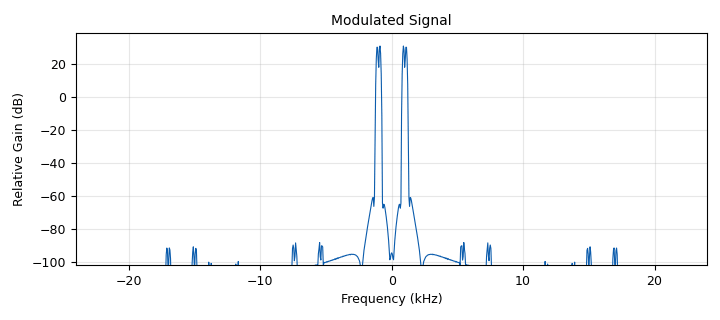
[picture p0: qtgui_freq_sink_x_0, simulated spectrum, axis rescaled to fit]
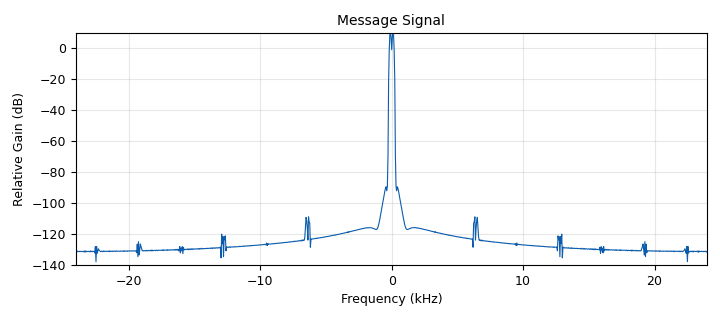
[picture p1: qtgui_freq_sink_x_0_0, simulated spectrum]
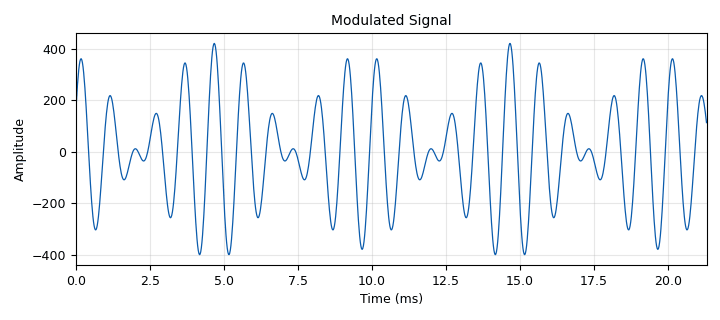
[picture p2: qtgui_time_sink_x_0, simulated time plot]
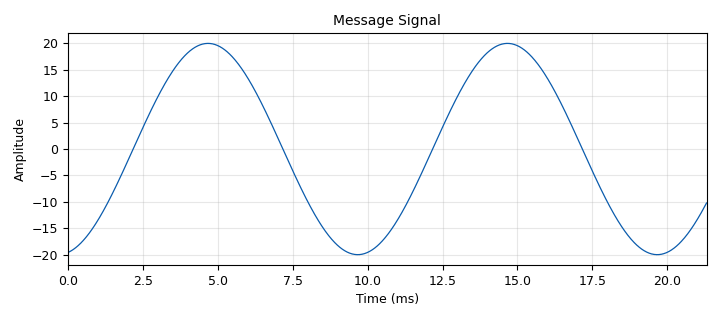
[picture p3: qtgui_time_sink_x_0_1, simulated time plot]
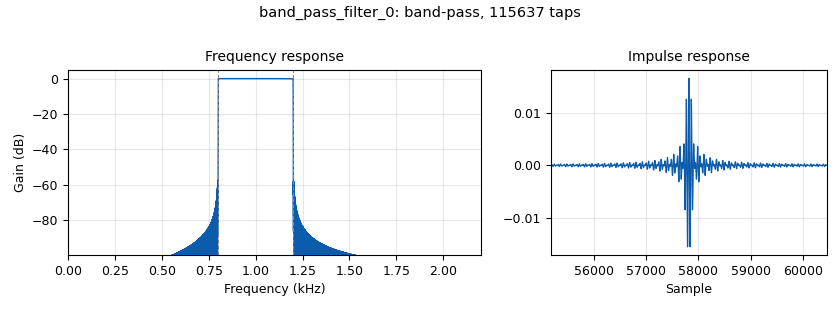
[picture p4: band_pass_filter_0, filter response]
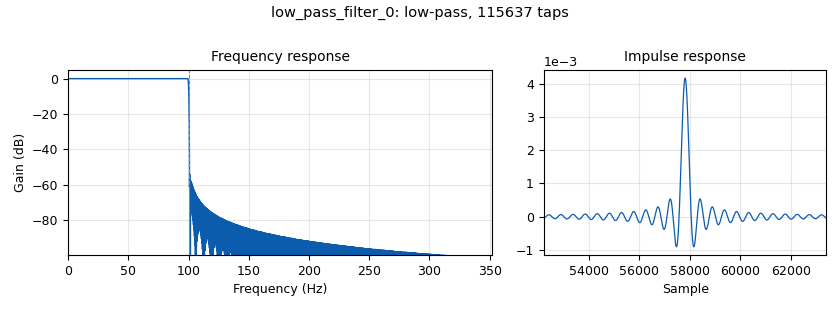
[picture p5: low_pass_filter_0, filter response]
options:
  parameters:
    author: shashank
    generate_options: qt_gui
    id: dsb_fc_USRP
    output_language: python
    title: dsb_fc_USRP
  states: {}

blocks:
- name: carrier_amp
  id: variable
  parameters:
    value: msg_amp/mu
  states: {}
- name: msg_amp
  id: variable
  parameters:
    value: '20.0'
  states: {}
- name: mu
  id: variable
  parameters:
    value: '1'
  states: {}
- name: samp_rate
  id: variable
  parameters:
    value: '48000'
  states: {}
- name: analog_const_source_x_0
  id: analog_const_source_x
  parameters:
    const: '1'
    type: float
  states: {}
- name: analog_const_source_x_1
  id: analog_const_source_x
  parameters:
    const: mu
    type: float
  states: {}
- name: band_pass_filter_0
  id: band_pass_filter
  parameters:
    decim: '1'
    gain: '1'
    high_cutoff_freq: '1200'
    low_cutoff_freq: '800'
    samp_rate: samp_rate
    type: fir_filter_ccf
    width: '1'
    win: firdes.WIN_HAMMING
  states: {}
- name: blocks_add_xx_0
  id: blocks_add_xx
  parameters:
    type: float
  states: {}
- name: blocks_complex_to_float_0
  id: blocks_complex_to_float
  parameters: {}
  states: {}
- name: blocks_float_to_complex_0
  id: blocks_float_to_complex
  parameters: {}
  states: {}
- name: blocks_multiply_xx_0
  id: blocks_multiply_xx
  parameters:
    type: float
  states: {}
- name: blocks_multiply_xx_1
  id: blocks_multiply_xx
  parameters:
    type: float
  states: {}
- name: blocks_multiply_xx_2
  id: blocks_multiply_xx
  parameters:
    type: float
  states: {}
- name: blocks_throttle_0
  id: blocks_throttle
  parameters:
    samples_per_second: samp_rate
    type: float
  states: {}
- name: carrierSignal
  id: analog_sig_source_x
  parameters:
    amp: carrier_amp
    freq: '1000'
    offset: '0'
    phase: '0'
    samp_rate: samp_rate
    type: float
    waveform: analog.GR_COS_WAVE
  states: {}
- name: carrierSignal_0
  id: analog_sig_source_x
  parameters:
    amp: '1'
    freq: '1000'
    offset: '0'
    phase: '0'
    samp_rate: samp_rate
    type: float
    waveform: analog.GR_COS_WAVE
  states: {}
- name: dc_blocker_xx_0
  id: dc_blocker_xx
  parameters:
    length: '32'
    long_form: 'True'
    type: ff
  states: {}
- name: low_pass_filter_0
  id: low_pass_filter
  parameters:
    cutoff_freq: '100'
    decim: '1'
    gain: '1'
    samp_rate: samp_rate
    type: fir_filter_fff
    width: '1'
    win: firdes.WIN_HAMMING
  states: {}
- name: messageSignal
  id: analog_sig_source_x
  parameters:
    amp: msg_amp
    freq: '100'
    offset: '0'
    phase: '0'
    samp_rate: samp_rate
    type: float
    waveform: analog.GR_COS_WAVE
  states: {}
- name: qtgui_freq_sink_x_0
  id: qtgui_freq_sink_x
  parameters:
    bw: samp_rate
    ctrlpanel: 'True'
    fc: '0'
    fftsize: '1024'
    name: '"Modulated Signal"'
    showports: 'True'
    type: float
    wintype: firdes.WIN_BLACKMAN_hARRIS
  states: {}
- name: qtgui_freq_sink_x_0_0
  id: qtgui_freq_sink_x
  parameters:
    bw: samp_rate
    ctrlpanel: 'True'
    fc: '0'
    fftsize: '1024'
    name: '"Message Signal"'
    showports: 'True'
    type: float
    wintype: firdes.WIN_BLACKMAN_hARRIS
  states: {}
- name: qtgui_freq_sink_x_0_1
  id: qtgui_freq_sink_x
  parameters:
    bw: samp_rate
    ctrlpanel: 'True'
    fc: '0'
    fftsize: '1024'
    name: '"Demodulated Signal"'
    showports: 'True'
    type: float
    wintype: firdes.WIN_BLACKMAN_hARRIS
  states: {}
- name: qtgui_freq_sink_x_0_1_0
  id: qtgui_freq_sink_x
  parameters:
    bw: samp_rate
    ctrlpanel: 'True'
    fc: '0'
    fftsize: '1024'
    name: '"LPF Input"'
    showports: 'True'
    type: float
    wintype: firdes.WIN_BLACKMAN_hARRIS
  states: {}
- name: qtgui_time_sink_x_0
  id: qtgui_time_sink_x
  parameters:
    autoscale: 'True'
    ctrlpanel: 'True'
    grid: 'True'
    label1: ''
    name: '"Modulated Signal"'
    size: '1024'
    srate: samp_rate
    type: float
  states: {}
- name: qtgui_time_sink_x_0_0
  id: qtgui_time_sink_x
  parameters:
    autoscale: 'True'
    ctrlpanel: 'True'
    grid: 'True'
    label1: ''
    name: '"Demodulated Signal"'
    size: '1024'
    srate: samp_rate
    type: float
  states: {}
- name: qtgui_time_sink_x_0_1
  id: qtgui_time_sink_x
  parameters:
    autoscale: 'True'
    ctrlpanel: 'True'
    grid: 'True'
    label1: ''
    name: '"Message Signal"'
    size: '1024'
    srate: samp_rate
    type: float
  states: {}
- name: uhd_usrp_sink_0
  id: uhd_usrp_sink
  parameters:
    ant0: '"TX/RX"'
    center_freq0: 1e9
    dev_addr: '"Serial=32428D5"'
    gain0: '70'
    norm_gain0: 'False'
    samp_rate: samp_rate
    sync: sync
    type: fc32
  states: {}
- name: uhd_usrp_source_1
  id: uhd_usrp_source
  parameters:
    ant0: RX2
    center_freq0: 1e9
    dc_offs_enb0: '0'
    dev_addr: '"Serial=32428D5"'
    dev_args: '""'
    gain0: '70'
    iq_imbal_enb0: '0'
    norm_gain0: 'False'
    samp_rate: samp_rate
    sync: sync
    type: fc32
  states: {}

connections:
- [analog_const_source_x_0, '0', blocks_add_xx_0, '0']
- [analog_const_source_x_1, '0', blocks_multiply_xx_0, '0']
- [band_pass_filter_0, '0', blocks_complex_to_float_0, '0']
- [blocks_add_xx_0, '0', blocks_multiply_xx_1, '0']
- [blocks_complex_to_float_0, '0', blocks_multiply_xx_2, '0']
- [blocks_float_to_complex_0, '0', uhd_usrp_sink_0, '0']
- [blocks_multiply_xx_0, '0', blocks_add_xx_0, '1']
- [blocks_multiply_xx_1, '0', blocks_throttle_0, '0']
- [blocks_multiply_xx_2, '0', low_pass_filter_0, '0']
- [blocks_multiply_xx_2, '0', qtgui_freq_sink_x_0_1_0, '0']
- [blocks_throttle_0, '0', blocks_float_to_complex_0, '0']
- [blocks_throttle_0, '0', qtgui_freq_sink_x_0, '0']
- [blocks_throttle_0, '0', qtgui_time_sink_x_0, '0']
- [carrierSignal, '0', blocks_multiply_xx_1, '1']
- [carrierSignal_0, '0', blocks_multiply_xx_2, '1']
- [dc_blocker_xx_0, '0', qtgui_freq_sink_x_0_1, '0']
- [dc_blocker_xx_0, '0', qtgui_time_sink_x_0_0, '0']
- [low_pass_filter_0, '0', dc_blocker_xx_0, '0']
- [messageSignal, '0', blocks_multiply_xx_0, '1']
- [messageSignal, '0', qtgui_freq_sink_x_0_0, '0']
- [messageSignal, '0', qtgui_time_sink_x_0_1, '0']
- [uhd_usrp_source_1, '0', band_pass_filter_0, '0']

metadata:
  file_format: 1
